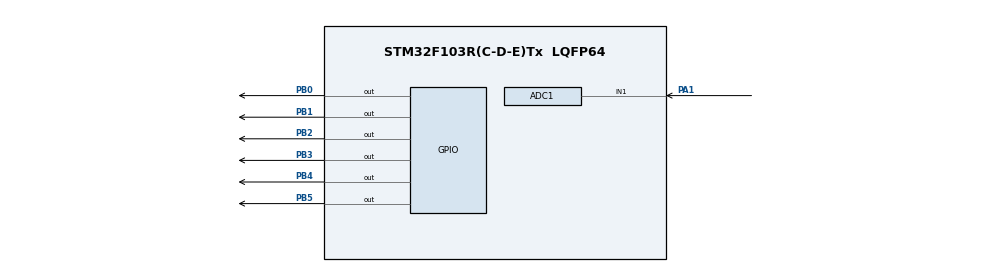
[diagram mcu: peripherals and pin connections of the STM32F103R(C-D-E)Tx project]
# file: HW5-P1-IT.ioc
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ADC1.Channel-2\#ChannelRegularConversion=ADC_CHANNEL_1
ADC1.NbrOfConversionFlag=1
ADC1.Rank-2\#ChannelRegularConversion=1
ADC1.SamplingTime-2\#ChannelRegularConversion=ADC_SAMPLETIME_239CYCLES_5
ADC1.master=1
Mcu.Family=STM32F1
Mcu.Name=STM32F103R(C-D-E)Tx
Mcu.Package=LQFP64
NVIC.ADC1_2_IRQn=true\:0\:0\:false\:false\:true\:true\:true\:true
NVIC.PriorityGroup=NVIC_PRIORITYGROUP_4
PA1.Signal=ADCx_IN1
PA13.Mode=Serial_Wire
PA13.Signal=SYS_JTMS-SWDIO
PA14.Mode=Serial_Wire
PA14.Signal=SYS_JTCK-SWCLK
PB0.Signal=GPIO_Output
PB1.Signal=GPIO_Output
PB2.Signal=GPIO_Output
PB3.Signal=GPIO_Output
PB4.Signal=GPIO_Output
PB5.Signal=GPIO_Output
PD0-OSC_IN.Mode=HSE-External-Oscillator
PD0-OSC_IN.Signal=RCC_OSC_IN
PD1-OSC_OUT.Mode=HSE-External-Oscillator
PD1-OSC_OUT.Signal=RCC_OSC_OUT
ProjectManager.HeapSize=0x200
ProjectManager.StackSize=0x400
ProjectManager.TargetToolchain=MDK-ARM V5.32
RCC.APB1Freq_Value=8000000
RCC.APB2Freq_Value=8000000
SH.ADCx_IN1.0=ADC1_IN1,IN1
board=custom

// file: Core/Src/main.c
/* USER CODE BEGIN Header */
/**
  ******************************************************************************
  * @file           : main.c
  * @brief          : Main program body
  ******************************************************************************
  * @attention
  *
  * Copyright (c) 2026 STMicroelectronics.
  * All rights reserved.
  *
  * This software is licensed under terms that can be found in the LICENSE file
  * in the root directory of this software component.
  * If no LICENSE file comes with this software, it is provided AS-IS.
  *
  ******************************************************************************
  */
/* USER CODE END Header */
#include "main.h"

/* USER CODE BEGIN Includes */
#include "lcd.h"

/* USER CODE END Includes */

ADC_HandleTypeDef hadc1;

/* USER CODE BEGIN PV */
Lcd_HandleTypeDef lcd;
char lcd_buffer[16];
// Variables marked volatile because they are shared/modified inside the Interrupt ISR
volatile uint32_t adc_sum = 0;
volatile uint16_t sample_count = 0;
volatile uint8_t data_ready_flag = 0;
uint16_t avg_adc;
/* USER CODE END PV */

void SystemClock_Config(void);
static void MX_GPIO_Init(void);
static void MX_ADC1_Init(void);

/* USER CODE BEGIN 0 */
void HAL_ADC_ConvCpltCallback(ADC_HandleTypeDef* hadc)
{
    if(hadc->Instance == ADC1)
    {
        adc_sum += HAL_ADC_GetValue(hadc);
        sample_count++;

        if (sample_count >= 50)
        {
            data_ready_flag = 1;  // Signal the main loop that the batch is ready
        }
        else
        {
            HAL_ADC_Start_IT(hadc); // Fire the next interrupt conversion
        }
    }
}
/* USER CODE END 0 */

int main(void)
{

  /* MCU Configuration--------------------------------------------------------*/

  /* Reset of all peripherals, Initializes the Flash interface and the Systick. */
  HAL_Init();

  /* Configure the system clock */
  SystemClock_Config();

  /* Initialize all configured peripherals */
  MX_GPIO_Init();
  MX_ADC1_Init();
  /* USER CODE BEGIN 2 */
	Lcd_PortType ports[] = { GPIOB, GPIOB, GPIOB, GPIOB };
  Lcd_PinType pins[] = {GPIO_PIN_0, GPIO_PIN_1, GPIO_PIN_2, GPIO_PIN_3};
  lcd = Lcd_create(ports, pins, GPIOB, GPIO_PIN_4, GPIOB, GPIO_PIN_5, LCD_4_BIT_MODE);
	Lcd_cursor(&lcd, 0, 0);
	Lcd_string(&lcd, "ADC IT Mode");
	HAL_Delay(1000);
	Lcd_clear(&lcd);
	HAL_ADC_Start_IT(&hadc1);
  /* USER CODE END 2 */

  /* Infinite loop */
  /* USER CODE BEGIN WHILE */
  while (1)
  {
		if (data_ready_flag == 1)
    {
        // Calculate average using integer division
        avg_adc = adc_sum / 50;

        // Integer-based scaling factor matching (avg_adc * 330) / 4095
        uint32_t volt_scaled = (avg_adc * 330) / 4095;
        uint8_t whole_part = volt_scaled / 100;
        uint8_t frac_part = volt_scaled % 100;

        // Print Raw value on line 0
        snprintf(lcd_buffer, sizeof(lcd_buffer), "Raw Avg: %d    ", avg_adc);
        Lcd_cursor(&lcd, 0, 0);
        Lcd_string(&lcd, lcd_buffer);

        // Print Voltage calculation on line 1
        snprintf(lcd_buffer, sizeof(lcd_buffer), "Volt: %d.%02d V   ", whole_part, frac_part);
        Lcd_cursor(&lcd, 1, 0);
        Lcd_string(&lcd, lcd_buffer);

        // Clear flags and state variables safely
        adc_sum = 0;
        sample_count = 0;
        data_ready_flag = 0;

        HAL_Delay(500); // UI update delay

        // Re-enable the interrupt chain for the next window
        HAL_ADC_Start_IT(&hadc1);
    }
    /* USER CODE END WHILE */

  }
}

void SystemClock_Config(void)
{
  RCC_OscInitTypeDef RCC_OscInitStruct = {0};
  RCC_ClkInitTypeDef RCC_ClkInitStruct = {0};
  RCC_PeriphCLKInitTypeDef PeriphClkInit = {0};

  /** Initializes the RCC Oscillators according to the specified parameters
  * in the RCC_OscInitTypeDef structure.
  */
  RCC_OscInitStruct.OscillatorType = RCC_OSCILLATORTYPE_HSI;
  RCC_OscInitStruct.HSIState = RCC_HSI_ON;
  RCC_OscInitStruct.HSICalibrationValue = RCC_HSICALIBRATION_DEFAULT;
  RCC_OscInitStruct.PLL.PLLState = RCC_PLL_NONE;
  if (HAL_RCC_OscConfig(&RCC_OscInitStruct) != HAL_OK)
  {
    Error_Handler();
  }

  /** Initializes the CPU, AHB and APB buses clocks
  */
  RCC_ClkInitStruct.ClockType = RCC_CLOCKTYPE_HCLK|RCC_CLOCKTYPE_SYSCLK
                              |RCC_CLOCKTYPE_PCLK1|RCC_CLOCKTYPE_PCLK2;
  RCC_ClkInitStruct.SYSCLKSource = RCC_SYSCLKSOURCE_HSI;
  RCC_ClkInitStruct.AHBCLKDivider = RCC_SYSCLK_DIV1;
  RCC_ClkInitStruct.APB1CLKDivider = RCC_HCLK_DIV1;
  RCC_ClkInitStruct.APB2CLKDivider = RCC_HCLK_DIV1;

  if (HAL_RCC_ClockConfig(&RCC_ClkInitStruct, FLASH_LATENCY_0) != HAL_OK)
  {
    Error_Handler();
  }
  PeriphClkInit.PeriphClockSelection = RCC_PERIPHCLK_ADC;
  PeriphClkInit.AdcClockSelection = RCC_ADCPCLK2_DIV2;
  if (HAL_RCCEx_PeriphCLKConfig(&PeriphClkInit) != HAL_OK)
  {
    Error_Handler();
  }
}

static void MX_ADC1_Init(void)
{

  ADC_ChannelConfTypeDef sConfig = {0};

  /** Common config
  */
  hadc1.Instance = ADC1;
  hadc1.Init.ScanConvMode = ADC_SCAN_DISABLE;
  hadc1.Init.ContinuousConvMode = DISABLE;
  hadc1.Init.DiscontinuousConvMode = DISABLE;
  hadc1.Init.ExternalTrigConv = ADC_SOFTWARE_START;
  hadc1.Init.DataAlign = ADC_DATAALIGN_RIGHT;
  hadc1.Init.NbrOfConversion = 1;
  if (HAL_ADC_Init(&hadc1) != HAL_OK)
  {
    Error_Handler();
  }

  /** Configure Regular Channel
  */
  sConfig.Channel = ADC_CHANNEL_1;
  sConfig.Rank = ADC_REGULAR_RANK_1;
  sConfig.SamplingTime = ADC_SAMPLETIME_239CYCLES_5;
  if (HAL_ADC_ConfigChannel(&hadc1, &sConfig) != HAL_OK)
  {
    Error_Handler();
  }

}

static void MX_GPIO_Init(void)
{
  GPIO_InitTypeDef GPIO_InitStruct = {0};

  /* GPIO Ports Clock Enable */
  __HAL_RCC_GPIOD_CLK_ENABLE();
  __HAL_RCC_GPIOA_CLK_ENABLE();
  __HAL_RCC_GPIOB_CLK_ENABLE();

  /*Configure GPIO pin Output Level */
  HAL_GPIO_WritePin(GPIOB, GPIO_PIN_0|GPIO_PIN_1|GPIO_PIN_2|GPIO_PIN_3
                          |GPIO_PIN_4|GPIO_PIN_5, GPIO_PIN_RESET);

  /*Configure GPIO pins : PB0 PB1 PB2 PB3
                           PB4 PB5 */
  GPIO_InitStruct.Pin = GPIO_PIN_0|GPIO_PIN_1|GPIO_PIN_2|GPIO_PIN_3
                          |GPIO_PIN_4|GPIO_PIN_5;
  GPIO_InitStruct.Mode = GPIO_MODE_OUTPUT_PP;
  GPIO_InitStruct.Pull = GPIO_NOPULL;
  GPIO_InitStruct.Speed = GPIO_SPEED_FREQ_LOW;
  HAL_GPIO_Init(GPIOB, &GPIO_InitStruct);

}

void Error_Handler(void)
{
  __disable_irq();
  while (1)
  {
  }
}
